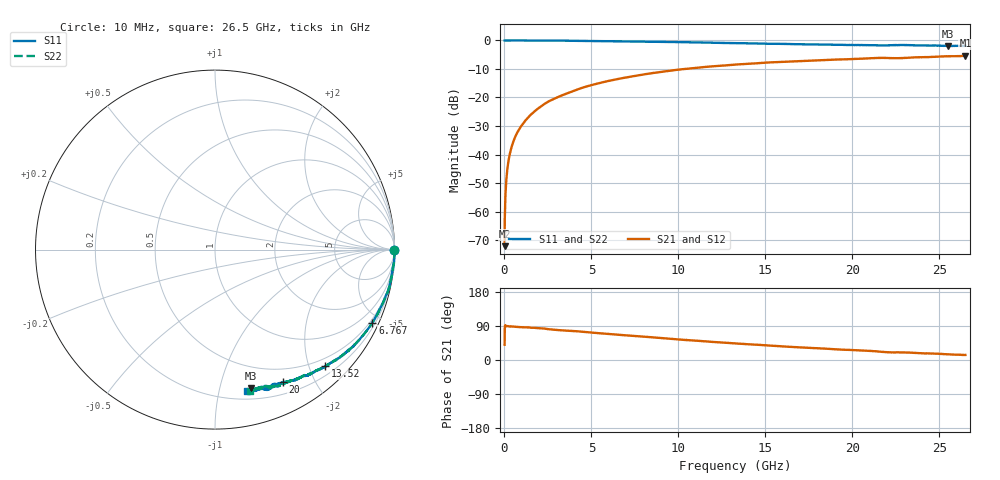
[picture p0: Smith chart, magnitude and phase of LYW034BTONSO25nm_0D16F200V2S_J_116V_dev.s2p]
!Keysight Technologies,N5222B,MY61253708,A.15.00.15
!Date: Wednesday, June 19, 2024 09:47:13
!Correction: S11(C  2-Port  )
!S21(C  2-Port  )
!S12(C  2-Port  )
!S22(C  2-Port  )
!S2P File: Measurements: S11, S21, S12, S22:
# Hz S  RI  R 50
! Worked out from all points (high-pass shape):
!   2651 points, 10 MHz to 26.5 GHz, reference 50 ohm
!   highest |S21| = -5.39 dB at 26.5 GHz (marker M1); lowest = -72.1 dB at 10 MHz (marker M2)
!   |S21| within 3 dB of the highest: 13.45582 GHz to 13.48869 GHz (32.87 MHz wide, 0.244 % of centre); 13.51 GHz to end of sweep
!   lowest |S11| = -2.0 dB at 25.5 GHz (marker M3), VSWR 8.89, Z = 14.7 - j62.5 ohm
!   |S11| at or under -10 dB: nowhere
!   |S22| runs from -1.9 to 0.0 dB; largest |S21 - S12| = 0.0064
!   S11 on the Smith chart (normalised r, x): 10 MHz: open; 6.767 GHz: 0.37, -4.51; 13.52 GHz: 0.35, -2.28; 20 GHz: 0.33, -1.58; 26.5 GHz: 0.27, -1.22
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1e7  0.9988 -0.00298  0.000189 0.00016  -0.000167 0.000166  0.9986 -0.00111
7.997358e7  0.9999 -0.00578  5.48e-08 0.00262  1.14e-05 0.00266  0.9994 -0.00522
1.499472e8  1 -0.0109  7.63e-05 0.00497  5e-05 0.00499  0.9995 -0.0101
1.899321e8  1 -0.0128  8.04e-05 0.00627  7.69e-05 0.00631  0.9998 -0.0119
2.499094e8  0.9995 -0.0173  0.000139 0.00823  0.000151 0.00831  0.9994 -0.0163
3.498717e8  0.9995 -0.0239  0.000331 0.0115  0.000217 0.0116  0.9996 -0.0229
4.798226e8  0.9988 -0.0326  0.000506 0.0158  0.000451 0.016  0.9984 -0.0312
6.29766e8  0.9989 -0.0422  0.000877 0.0207  0.000843 0.0209  0.9986 -0.0411
8.196943e8  0.9979 -0.0548  0.00143 0.0268  0.00144 0.0271  0.9977 -0.0534
1.449457e9  0.9907 -0.0975  0.00344 0.0477  0.00353 0.048  0.9931 -0.0934
2.329125e9  0.9819 -0.1516  0.00987 0.0775  0.0101 0.0781  0.9833 -0.1513
3.198796e9  0.9711 -0.2071  0.0209 0.1035  0.0211 0.1041  0.9713 -0.2053
4.428332e9  0.9425 -0.2806  0.0382 0.1413  0.0387 0.1422  0.9449 -0.2766
6.767449e9  0.877 -0.4062  0.0894 0.1989  0.0909 0.1996  0.8796 -0.4046
8.846664e9  0.803 -0.5024  0.1445 0.2364  0.1462 0.2371  0.8061 -0.4991
1.3255e10  0.6267 -0.6424  0.2717 0.2609  0.2742 0.2606  0.6331 -0.6394
1.35249e10  0.6151 -0.6491  0.2791 0.2602  0.2813 0.2598  0.6221 -0.6456
1.767333e10  0.4548 -0.7216  0.378 0.2334  0.3815 0.2316  0.4684 -0.7182
2.000245e10  0.3761 -0.7398  0.4241 0.2076  0.4272 0.2049  0.3921 -0.739
2.209166e10  0.3191 -0.7543  0.4609 0.1715  0.4627 0.1683  0.317 -0.7603
2.550038e10  0.2005 -0.7721  0.5102 0.1351  0.5117 0.1342  0.224 -0.7753
2.65e10  0.181 -0.7859  0.5235 0.1237  0.5231 0.1196  0.1977 -0.7852
